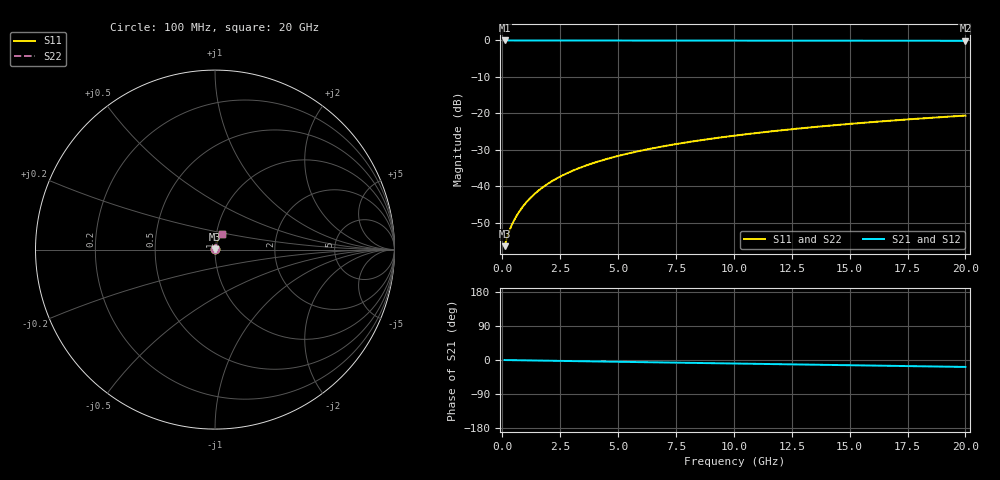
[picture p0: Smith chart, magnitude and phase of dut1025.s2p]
! Touchstone file exported from HFSS 2026.1.0
!  File:  C:/ffzhzh/LocalFiles/Ansys_Project_Files/temp_train_BSMRDL_1025_1783173514_43440.aedt
!  Generated:  09:59:45 PM Jul  4, 2026
!  Design:  BSMRDL
!  Project:  temp_train_BSMRDL_1025_1783173514_43440
! Variables:
!  h_bsmrdl = 4.65um
!  h_ox = 20um
!  h_rdl = 5um
!  h_sub = 80um
!  h_tmrdl = 5um
!  h_tsv = 80um
!  h_via = 3um
!  l_bsmrdl = 300.4um
!  l_sub = 700.4um
!  l_tmrdl = 200um
!  m_sub = 200um
!  pitch = 29.7um
!  r_tsv = 6um
!  s_tmrdl = 10um
!  w_bsmrdl = 19.99um
!  w_sub = 500um
!  w_tmrdl = 12um
!  x_tsv_center1 = 206um
!  x_tsv_center2 = 526.39um
!  x_tsv_center3 = 738.39um
!  x_tsv_center4 = 1058.78um
!  x_tsv_center5 = 1270.78um
!  x_tsv_center6 = 1591.17um
# GHz S MA R 50.000000
! Terminal data exported
! Port[1] = BSM_RDL1_1_T1
! Port[2] = BSM_RDL1_1_T2
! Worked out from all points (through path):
!   200 points, 100 MHz to 20 GHz, reference 50 ohm
!   highest |S21| = -0.01 dB at 100 MHz (marker M1); lowest = -0.1 dB at 20 GHz (marker M2)
!   group delay of S21, straight-line fit = 2.53 ps
!   lowest |S11| = -56.5 dB at 100 MHz (marker M3), VSWR 1.00, Z = 50.1 + j0.0699 ohm
!   |S11| at or under -10 dB: start of sweep to end of sweep
!   |S22| runs from -56.5 to -20.6 dB; largest |S21 - S12| = 7.4e-15
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0.1  0.0015 27.7  0.9987 -0.1  0.9987 -0.1  0.0015 27.7
! Gamma 0 0 0 0
! Port Impedance 50 0 50 0
0.2  0.001953 42.1  0.9986 -0.2  0.9986 -0.2  0.001953 42.1
0.3  0.002424 50.1  0.9985 -0.3  0.9985 -0.3  0.002424 50.1
0.4  0.002888 55.5  0.9984 -0.4  0.9984 -0.4  0.002888 55.5
0.5  0.003355 59.6  0.9983 -0.5  0.9983 -0.5  0.003355 59.6
0.6  0.003829 62.8  0.9983 -0.6  0.9983 -0.6  0.003829 62.8
0.8  0.004805 67.5  0.9982 -0.8  0.9982 -0.8  0.004805 67.5
1  0.005807 70.6  0.9981 -1.0  0.9981 -1.0  0.005807 70.6
1.2  0.006825 72.8  0.9981 -1.2  0.9981 -1.2  0.006825 72.8
1.4  0.007854 74.3  0.998 -1.3  0.998 -1.3  0.007854 74.3
1.7  0.009405 75.9  0.9979 -1.6  0.9979 -1.6  0.009405 75.9
2.2  0.01199 77.2  0.9977 -2.1  0.9977 -2.1  0.01199 77.2
2.8  0.01506 77.9  0.9974 -2.7  0.9974 -2.7  0.01506 77.9
3.5  0.0186 78.1  0.9971 -3.3  0.9971 -3.3  0.0186 78.1
4.2  0.02207 78.0  0.9967 -4.0  0.9967 -4.0  0.02207 78.0
5  0.02596 77.6  0.9962 -4.7  0.9962 -4.7  0.02596 77.6
6.8  0.0345 76.6  0.9952 -6.4  0.9952 -6.4  0.0345 76.6
8.3  0.04145 75.6  0.9944 -7.7  0.9944 -7.7  0.04145 75.6
10.1  0.04966 74.4  0.9934 -9.4  0.9934 -9.4  0.04966 74.4
13.4  0.06442 72.1  0.9917 -12.4  0.9917 -12.4  0.06443 72.1
16.7  0.07887 69.6  0.9899 -15.3  0.9899 -15.3  0.07887 69.6
20  0.09298 67.0  0.988 -18.3  0.988 -18.3  0.09299 67.0
